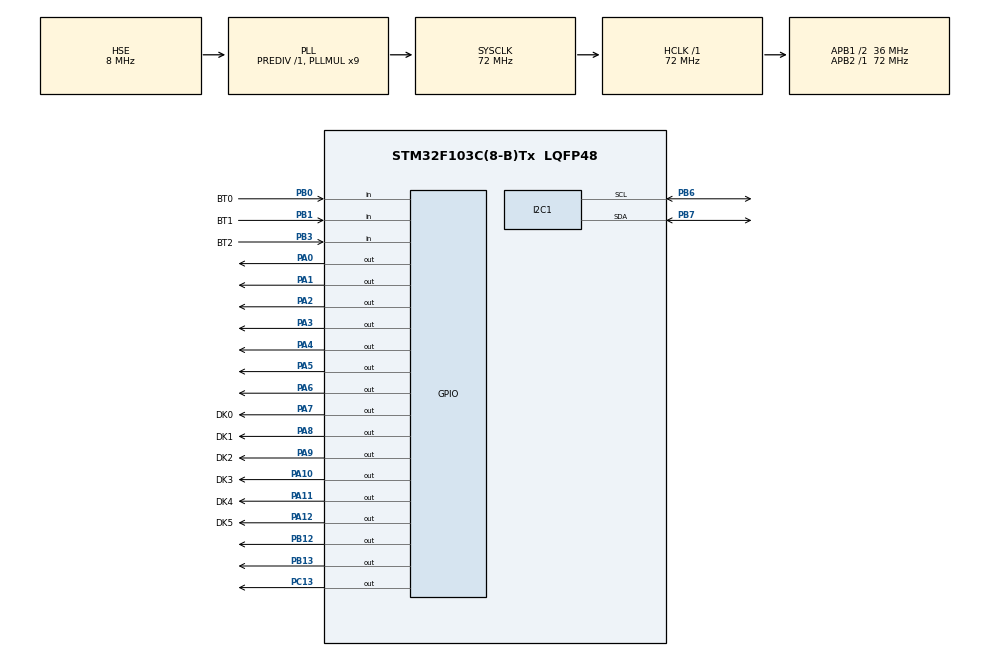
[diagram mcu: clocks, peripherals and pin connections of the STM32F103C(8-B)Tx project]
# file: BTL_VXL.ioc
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Mcu.Family=STM32F1
Mcu.Name=STM32F103C(8-B)Tx
Mcu.Package=LQFP48
NVIC.PriorityGroup=NVIC_PRIORITYGROUP_4
PA0-WKUP.Signal=GPIO_Output
PA1.Signal=GPIO_Output
PA10.GPIO_Label=DK3
PA10.Signal=GPIO_Output
PA11.GPIO_Label=DK4
PA11.Signal=GPIO_Output
PA12.GPIO_Label=DK5
PA12.Signal=GPIO_Output
PA13.Mode=Serial_Wire
PA13.Signal=SYS_JTMS-SWDIO
PA14.Mode=Serial_Wire
PA14.Signal=SYS_JTCK-SWCLK
PA2.Signal=GPIO_Output
PA3.Signal=GPIO_Output
PA4.Signal=GPIO_Output
PA5.Signal=GPIO_Output
PA6.Signal=GPIO_Output
PA7.GPIO_Label=DK0
PA7.Signal=GPIO_Output
PA8.GPIO_Label=DK1
PA8.Signal=GPIO_Output
PA9.GPIO_Label=DK2
PA9.Signal=GPIO_Output
PB0.GPIO_Label=BT0
PB0.GPIO_PuPd=GPIO_NOPULL
PB0.Signal=GPIO_Input
PB1.GPIO_Label=BT1
PB1.GPIO_PuPd=GPIO_NOPULL
PB1.Signal=GPIO_Input
PB12.PinState=GPIO_PIN_RESET
PB12.Signal=GPIO_Output
PB13.PinState=GPIO_PIN_RESET
PB13.Signal=GPIO_Output
PB3.GPIO_Label=BT2
PB3.Signal=GPIO_Input
PB6.Mode=I2C
PB6.Signal=I2C1_SCL
PB7.Mode=I2C
PB7.Signal=I2C1_SDA
PC13-TAMPER-RTC.PinState=GPIO_PIN_SET
PC13-TAMPER-RTC.Signal=GPIO_Output
PD0-OSC_IN.Mode=HSE-External-Oscillator
PD0-OSC_IN.Signal=RCC_OSC_IN
PD1-OSC_OUT.Mode=HSE-External-Oscillator
PD1-OSC_OUT.Signal=RCC_OSC_OUT
ProjectManager.HeapSize=0x200
ProjectManager.StackSize=0x400
ProjectManager.TargetToolchain=MDK-ARM V5.32
RCC.AHBFreq_Value=72000000
RCC.APB1CLKDivider=RCC_HCLK_DIV2
RCC.APB1Freq_Value=36000000
RCC.APB1TimFreq_Value=72000000
RCC.APB2Freq_Value=72000000
RCC.APB2TimFreq_Value=72000000
RCC.HCLKFreq_Value=72000000
RCC.PLLMUL=RCC_PLL_MUL9
RCC.PLLSourceVirtual=RCC_PLLSOURCE_HSE
RCC.SYSCLKFreq_VALUE=72000000
RCC.SYSCLKSource=RCC_SYSCLKSOURCE_PLLCLK
RCC.USBFreq_Value=72000000
board=custom

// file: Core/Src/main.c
/* USER CODE BEGIN Header */
/**
  ******************************************************************************
  * @file           : main.c
  * @brief          : Main program body
  ******************************************************************************
  * @attention
  *
  * Copyright (c) 2024 STMicroelectronics.
  * All rights reserved.
  *
  * This software is licensed under terms that can be found in the LICENSE file
  * in the root directory of this software component.
  * If no LICENSE file comes with this software, it is provided AS-IS.
  *
  ******************************************************************************
  */
/* USER CODE END Header */
#include "main.h"

/* USER CODE BEGIN Includes */
#include "Button.h"
#include "DS3231.h"
/* USER CODE END Includes */

I2C_HandleTypeDef hi2c1;

void SystemClock_Config(void);
static void MX_GPIO_Init(void);
static void MX_I2C1_Init(void);

/* USER CODE BEGIN 0 */
Button_Typedef button0;
Button_Typedef button1;
Button_Typedef button2;
uint32_t minute = 0;
uint8_t temp0, temp1, temp2, temp3, temp4, temp5;
DateTime date_time;
float temperature;

#define D0_LOW() HAL_GPIO_WritePin(DK0_GPIO_Port, DK0_Pin, GPIO_PIN_SET)
#define D0_HIGH() HAL_GPIO_WritePin(DK0_GPIO_Port, DK0_Pin, GPIO_PIN_RESET)
#define D1_LOW() HAL_GPIO_WritePin(DK1_GPIO_Port, DK1_Pin, GPIO_PIN_SET)
#define D1_HIGH() HAL_GPIO_WritePin(DK1_GPIO_Port, DK1_Pin, GPIO_PIN_RESET)
#define D2_LOW() HAL_GPIO_WritePin(DK2_GPIO_Port, DK2_Pin, GPIO_PIN_SET)
#define D2_HIGH() HAL_GPIO_WritePin(DK2_GPIO_Port, DK2_Pin, GPIO_PIN_RESET)
#define D3_LOW() HAL_GPIO_WritePin(DK3_GPIO_Port, DK3_Pin, GPIO_PIN_SET)
#define D3_HIGH() HAL_GPIO_WritePin(DK3_GPIO_Port, DK3_Pin, GPIO_PIN_RESET)
#define D4_LOW() HAL_GPIO_WritePin(DK4_GPIO_Port, DK4_Pin, GPIO_PIN_SET)
#define D4_HIGH() HAL_GPIO_WritePin(DK4_GPIO_Port, DK4_Pin, GPIO_PIN_RESET)
#define D5_LOW() HAL_GPIO_WritePin(DK5_GPIO_Port, DK5_Pin, GPIO_PIN_SET)
#define D5_HIGH() HAL_GPIO_WritePin(DK5_GPIO_Port, DK5_Pin, GPIO_PIN_RESET)

uint8_t segmentNumber[10] = {
	0xC0, // 0
	0xF9, // 1
	0xA4, // 2
	0xB0, // 3
	0x99, // 4
	0x92, // 5
	0x82, // 6
	0xF8, // 7
	0x80, // 8
	0x90 	// 9
};

// anot chung: 1 tat 0 sang
void SevenSegment_Update(uint8_t number)
{
	HAL_GPIO_WritePin(GPIOA, GPIO_PIN_0, ((number>>0)&0x01));
	HAL_GPIO_WritePin(GPIOA, GPIO_PIN_1, ((number>>1)&0x01));
	HAL_GPIO_WritePin(GPIOA, GPIO_PIN_2, ((number>>2)&0x01));
	HAL_GPIO_WritePin(GPIOA, GPIO_PIN_3, ((number>>3)&0x01));
	HAL_GPIO_WritePin(GPIOA, GPIO_PIN_4, ((number>>4)&0x01));
	HAL_GPIO_WritePin(GPIOA, GPIO_PIN_5, ((number>>5)&0x01));
	HAL_GPIO_WritePin(GPIOA, GPIO_PIN_6, ((number>>6)&0x01));
}

uint8_t blink_state = 1;       // Trạng thái nháy (1: hiển thị, 0: tắt)
uint32_t last_blink_time = 0;  // Thời điểm nháy cuối cùng

void Segment_Display(uint16_t counter, uint8_t digit, uint8_t blink_option)
{
    uint8_t temp0 = counter / 10;
    uint8_t temp1 = counter % 10;

    // Kiểm tra thời gian để thay đổi trạng thái nháy
    if (HAL_GetTick() - last_blink_time >= 1000) { // Chu kỳ 1 giây
        blink_state = !blink_state; // Đảo trạng thái nháy
        last_blink_time = HAL_GetTick();
    }

    switch (digit) {
        case 0:
            if (blink_option == 1 && !blink_state) {
                // Nháy 2 LED đầu: Tắt LED
                SevenSegment_Update(0xFF);
                D0_HIGH();
                HAL_Delay(5);
                D0_LOW();
                D1_HIGH();
                HAL_Delay(5);
                D1_LOW();
            } else {
                // Hiển thị bình thường hoặc khi không nháy
                SevenSegment_Update(segmentNumber[temp0]);
                D0_HIGH();
                HAL_Delay(5);
                D0_LOW();
                SevenSegment_Update(segmentNumber[temp1]);
                D1_HIGH();
                HAL_Delay(5);
                D1_LOW();
            }
            break;

        case 1:
            if (blink_option == 2 && !blink_state) {
                // Nháy 2 LED sau (D2, D3): Tắt LED
                SevenSegment_Update(0xFF);
                D2_HIGH();
                HAL_Delay(1);
                D2_LOW();
                D3_HIGH();
                HAL_Delay(1);
                D3_LOW();
            } else {
                // Hiển thị bình thường hoặc khi không nháy
                SevenSegment_Update(segmentNumber[temp0]);
                D2_HIGH();
                HAL_Delay(1);
                D2_LOW();
                SevenSegment_Update(segmentNumber[temp1]);
                D3_HIGH();
                HAL_Delay(1);
                D3_LOW();
            }
            break;

        case 2:
            if (blink_option == 3 && !blink_state) {
                // Nháy 2 LED cuối (D4, D5): Tắt LED
                SevenSegment_Update(0xFF);
                D4_HIGH();
                HAL_Delay(1);
                D4_LOW();
                D5_HIGH();
                HAL_Delay(1);
                D5_LOW();
            } else {
                // Hiển thị bình thường hoặc khi không nháy
                SevenSegment_Update(segmentNumber[temp0]);
                D4_HIGH();
                HAL_Delay(1);
                D4_LOW();
                SevenSegment_Update(segmentNumber[temp1]);
                D5_HIGH();
                HAL_Delay(1);
                D5_LOW();
            }
            break;

        default:
            break;
    }
}

typedef enum
{
	SEC_STA, // 0
	MIN_STA, // 1
	HOUR_STA, // 2
	ALL_STA, // 3
}SegmentStatus;

SegmentStatus segment_status = ALL_STA;

static uint8_t Times_Button = 0;
void btn_pressing_callback(Button_Typedef * ButtonX){

	if(ButtonX == &button0)
	{
		HAL_GPIO_WritePin(GPIOC, GPIO_PIN_13, GPIO_PIN_RESET);
		if(Times_Button == 0)
		{
			//
			segment_status = HOUR_STA;
			Times_Button++;
		}
		else if(Times_Button == 1)
		{
			//
			segment_status = MIN_STA;
			Times_Button++;
		}
		else if(Times_Button == 2)
		{
			//
			segment_status = SEC_STA;
			Times_Button++;
		}
		else if(Times_Button == 3)
		{
			//
			segment_status = ALL_STA;
			Times_Button = 0;
		}
	}
	else if(ButtonX == &button1)
	{
		//
		switch(segment_status)
		{
			case SEC_STA:
				date_time.sec++;
				if(date_time.sec == 60)
				{
					date_time.sec = 0;
				}
				rtc_write_time(&date_time);
			break;
		case MIN_STA:
				date_time.min++;
				if(date_time.min == 60)
				{
					date_time.min = 0;
				}
				rtc_write_time(&date_time);
			break;
		case HOUR_STA:
				date_time.hour++;
				if(date_time.hour == 24)
				{
					date_time.hour = 0;
				}
				rtc_write_time(&date_time);
			break;
		case ALL_STA:
			break;
		}
		HAL_GPIO_WritePin(GPIOC, GPIO_PIN_13, GPIO_PIN_SET);
	}
	else if(ButtonX == &button2)
	{
		switch(segment_status)
		{
			case SEC_STA:
				date_time.sec--;
				if(date_time.sec == 0)
				{
					date_time.sec = 60;
				}
				rtc_write_time(&date_time);
			break;
		case MIN_STA:
				if(date_time.min == 0)
				{
					date_time.min = 60;
				}
				date_time.min--;

				rtc_write_time(&date_time);
			break;
		case HOUR_STA:
				if(date_time.hour == 0)
				{
					date_time.hour = 24;
				}
				date_time.hour--;
				rtc_write_time(&date_time);
			break;
		case ALL_STA:
			break;
		}
		HAL_GPIO_WritePin(GPIOC, GPIO_PIN_13, GPIO_PIN_SET);
	}
}
void Display_Temp(float temperature, uint16_t display_time_ms)
{
		uint16_t temperature1 = temperature*100;
    uint8_t temp0 = temperature1/1000;
    uint8_t temp1 = (temperature1/100)%10;
		uint8_t temp2	= (temperature1/10)%10;
		uint8_t temp3 = temperature1%10;
    uint32_t start_time = HAL_GetTick(); // Lấy thời điểm bắt đầu
		HAL_GPIO_WritePin(GPIOB, GPIO_PIN_13, GPIO_PIN_RESET);
		HAL_GPIO_WritePin(GPIOB, GPIO_PIN_12, GPIO_PIN_SET);
    while ((HAL_GetTick() - start_time) < display_time_ms) {

        SevenSegment_Update(segmentNumber[temp0]);
        D0_HIGH();
        HAL_Delay(1);
        D0_LOW();

        SevenSegment_Update(segmentNumber[temp1]);
        D1_HIGH();
        HAL_Delay(1);
        D1_LOW();

				SevenSegment_Update(segmentNumber[temp2]);
        D2_HIGH();
        HAL_Delay(1);
        D2_LOW();

        SevenSegment_Update(segmentNumber[temp3]);
        D3_HIGH();
        HAL_Delay(1);
        D3_LOW();

				SevenSegment_Update(0x9C);
        D4_HIGH();
        HAL_Delay(1);
        D4_LOW();
			SevenSegment_Update(0xC6);
        D5_HIGH();
        HAL_Delay(1);
        D5_LOW();
    }

    // Sau 5 giây, tắt LED
    SevenSegment_Update(0); // Giá trị 0 tương ứng với tắt LED
    D0_LOW();
    D1_LOW();
		D2_LOW();
		D3_LOW();
		D4_LOW();
		D5_LOW();
		HAL_GPIO_WritePin(GPIOB, GPIO_PIN_13, GPIO_PIN_RESET);
		HAL_GPIO_WritePin(GPIOB, GPIO_PIN_12, GPIO_PIN_RESET);
}

void Display()
{
		switch(segment_status)
	{
		case SEC_STA:
			Segment_Display(date_time.min, 1, 0);
			Segment_Display(date_time.hour, 0, 0);
			Segment_Display(date_time.sec, 2, 3);
			break;
		case MIN_STA:
			Segment_Display(date_time.sec, 2, 0);
			Segment_Display(date_time.hour, 0, 0);
			Segment_Display(date_time.min, 1, 2);
			break;
		case HOUR_STA:
			Segment_Display(date_time.sec, 2, 0);
			Segment_Display(date_time.min, 1, 0);
			Segment_Display(date_time.hour, 0, 1);
			break;
		case ALL_STA:
			Segment_Display(date_time.sec, 2, 0);
			Segment_Display(date_time.min, 1, 0);
			Segment_Display(date_time.hour, 0, 0);
			break;
	}
}

void btn_press_timeout_short_callback(Button_Typedef * ButtonX)
{
    if (ButtonX == &button2)
    {
        Display_Temp(temperature, 5000); // Hiển thị nhiệt độ trong 5 giây
    }
}

/* USER CODE END 0 */

int main(void)
{

  /* MCU Configuration--------------------------------------------------------*/

  /* Reset of all peripherals, Initializes the Flash interface and the Systick. */
  HAL_Init();

  /* Configure the system clock */
  SystemClock_Config();

  /* Initialize all configured peripherals */
  MX_GPIO_Init();
  MX_I2C1_Init();
  /* USER CODE BEGIN 2 */
	Button_Init(&button0, BT0_GPIO_Port, BT0_Pin);
	Button_Init(&button1, BT1_GPIO_Port, BT1_Pin);
	Button_Init(&button2, BT2_GPIO_Port, BT2_Pin);
//	date_time.hour = 13;
//	date_time.min = 48;
//	date_time.sec = 0;
//	date_time.day = 7;
//	date_time.date = 18;
//	date_time.mon = 1;
//	date_time.year = 25;
//	rtc_write_time(&date_time);
	rtc_read_time(&date_time);
//	SethourMode(12);
//	SethourMode(12);
  /* USER CODE END 2 */

  /* Infinite loop */
  while (1)
  {

    /* USER CODE BEGIN 3 */
		static uint32_t time_read_led = 0;
		static uint32_t time_read = 0;
		if(HAL_GetTick()-time_read >=1000)
		{
			rtc_read_time(&date_time);
			temperature = rtc_read_temp(&date_time);
			time_read = HAL_GetTick();
		}
		button_handle(&button0);
		button_handle(&button1);
		button_handle(&button2);
		Display();
		if(HAL_GetTick() - time_read_led >=500)
		{
			HAL_GPIO_TogglePin(GPIOB, GPIO_PIN_12);
			HAL_GPIO_TogglePin(GPIOB, GPIO_PIN_13);
			time_read_led = HAL_GetTick();
		}
  }
  /* USER CODE END 3 */
}

void SystemClock_Config(void)
{
  RCC_OscInitTypeDef RCC_OscInitStruct = {0};
  RCC_ClkInitTypeDef RCC_ClkInitStruct = {0};

  /** Initializes the RCC Oscillators according to the specified parameters
  * in the RCC_OscInitTypeDef structure.
  */
  RCC_OscInitStruct.OscillatorType = RCC_OSCILLATORTYPE_HSE;
  RCC_OscInitStruct.HSEState = RCC_HSE_ON;
  RCC_OscInitStruct.HSEPredivValue = RCC_HSE_PREDIV_DIV1;
  RCC_OscInitStruct.HSIState = RCC_HSI_ON;
  RCC_OscInitStruct.PLL.PLLState = RCC_PLL_ON;
  RCC_OscInitStruct.PLL.PLLSource = RCC_PLLSOURCE_HSE;
  RCC_OscInitStruct.PLL.PLLMUL = RCC_PLL_MUL9;
  if (HAL_RCC_OscConfig(&RCC_OscInitStruct) != HAL_OK)
  {
    Error_Handler();
  }

  /** Initializes the CPU, AHB and APB buses clocks
  */
  RCC_ClkInitStruct.ClockType = RCC_CLOCKTYPE_HCLK|RCC_CLOCKTYPE_SYSCLK
                              |RCC_CLOCKTYPE_PCLK1|RCC_CLOCKTYPE_PCLK2;
  RCC_ClkInitStruct.SYSCLKSource = RCC_SYSCLKSOURCE_PLLCLK;
  RCC_ClkInitStruct.AHBCLKDivider = RCC_SYSCLK_DIV1;
  RCC_ClkInitStruct.APB1CLKDivider = RCC_HCLK_DIV2;
  RCC_ClkInitStruct.APB2CLKDivider = RCC_HCLK_DIV1;

  if (HAL_RCC_ClockConfig(&RCC_ClkInitStruct, FLASH_LATENCY_2) != HAL_OK)
  {
    Error_Handler();
  }
}

static void MX_I2C1_Init(void)
{

  hi2c1.Instance = I2C1;
  hi2c1.Init.ClockSpeed = 100000;
  hi2c1.Init.DutyCycle = I2C_DUTYCYCLE_2;
  hi2c1.Init.OwnAddress1 = 0;
  hi2c1.Init.AddressingMode = I2C_ADDRESSINGMODE_7BIT;
  hi2c1.Init.DualAddressMode = I2C_DUALADDRESS_DISABLE;
  hi2c1.Init.OwnAddress2 = 0;
  hi2c1.Init.GeneralCallMode = I2C_GENERALCALL_DISABLE;
  hi2c1.Init.NoStretchMode = I2C_NOSTRETCH_DISABLE;
  if (HAL_I2C_Init(&hi2c1) != HAL_OK)
  {
    Error_Handler();
  }

}

static void MX_GPIO_Init(void)
{
  GPIO_InitTypeDef GPIO_InitStruct = {0};

  /* GPIO Ports Clock Enable */
  __HAL_RCC_GPIOC_CLK_ENABLE();
  __HAL_RCC_GPIOD_CLK_ENABLE();
  __HAL_RCC_GPIOA_CLK_ENABLE();
  __HAL_RCC_GPIOB_CLK_ENABLE();

  /*Configure GPIO pin Output Level */
  HAL_GPIO_WritePin(GPIOC, GPIO_PIN_13, GPIO_PIN_SET);

  /*Configure GPIO pin Output Level */
  HAL_GPIO_WritePin(GPIOA, GPIO_PIN_0|GPIO_PIN_1|GPIO_PIN_2|GPIO_PIN_3
                          |GPIO_PIN_4|GPIO_PIN_5|GPIO_PIN_6|DK0_Pin
                          |DK1_Pin|DK2_Pin|DK3_Pin|DK4_Pin
                          |DK5_Pin, GPIO_PIN_RESET);

  /*Configure GPIO pin Output Level */
  HAL_GPIO_WritePin(GPIOB, GPIO_PIN_12|GPIO_PIN_13, GPIO_PIN_RESET);

  /*Configure GPIO pin : PC13 */
  GPIO_InitStruct.Pin = GPIO_PIN_13;
  GPIO_InitStruct.Mode = GPIO_MODE_OUTPUT_PP;
  GPIO_InitStruct.Pull = GPIO_NOPULL;
  GPIO_InitStruct.Speed = GPIO_SPEED_FREQ_LOW;
  HAL_GPIO_Init(GPIOC, &GPIO_InitStruct);

  /*Configure GPIO pins : PA0 PA1 PA2 PA3
                           PA4 PA5 PA6 DK0_Pin
                           DK1_Pin DK2_Pin DK3_Pin DK4_Pin
                           DK5_Pin */
  GPIO_InitStruct.Pin = GPIO_PIN_0|GPIO_PIN_1|GPIO_PIN_2|GPIO_PIN_3
                          |GPIO_PIN_4|GPIO_PIN_5|GPIO_PIN_6|DK0_Pin
                          |DK1_Pin|DK2_Pin|DK3_Pin|DK4_Pin
                          |DK5_Pin;
  GPIO_InitStruct.Mode = GPIO_MODE_OUTPUT_PP;
  GPIO_InitStruct.Pull = GPIO_NOPULL;
  GPIO_InitStruct.Speed = GPIO_SPEED_FREQ_LOW;
  HAL_GPIO_Init(GPIOA, &GPIO_InitStruct);

  /*Configure GPIO pins : BT0_Pin BT1_Pin BT2_Pin */
  GPIO_InitStruct.Pin = BT0_Pin|BT1_Pin|BT2_Pin;
  GPIO_InitStruct.Mode = GPIO_MODE_INPUT;
  GPIO_InitStruct.Pull = GPIO_NOPULL;
  HAL_GPIO_Init(GPIOB, &GPIO_InitStruct);

  /*Configure GPIO pins : PB12 PB13 */
  GPIO_InitStruct.Pin = GPIO_PIN_12|GPIO_PIN_13;
  GPIO_InitStruct.Mode = GPIO_MODE_OUTPUT_PP;
  GPIO_InitStruct.Pull = GPIO_NOPULL;
  GPIO_InitStruct.Speed = GPIO_SPEED_FREQ_LOW;
  HAL_GPIO_Init(GPIOB, &GPIO_InitStruct);

}

void Error_Handler(void)
{
  __disable_irq();
  while (1)
  {
  }
}
